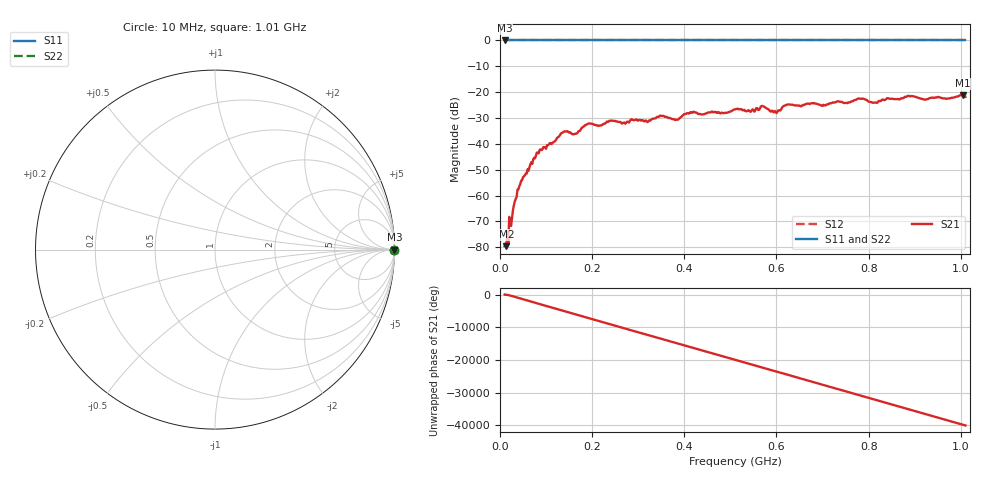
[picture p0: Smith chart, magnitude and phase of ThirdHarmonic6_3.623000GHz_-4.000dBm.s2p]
! 8/17/2025 12:07:51 PM
! C:\ANRITSUVNA\TEMP\TEMP.S2P
! CHANNEL.1
! TR.MEASUREMENT
! RAW.DATA
! RF.CORRECTION.OFF
! AVERAGING.OFF
! IF.BANDWIDTH: 5KHZ
! SWEEPTYPE:  FREQ.SWEEP(Linear)
! Reference Plane Port Info
! PORT:  PORT1  PORT2
! DISTANCE:  0  m  0  m
! TIME:  0  s  0  s
! PHASE.OFFSET:  0  deg.  0  deg.
! LOSS:  0  dB  0  dB
! REF.LOSS:  0  dB  0  dB
! REF.FREQ:  0  Hz  0  Hz
! Power Info
! POWER:  -20  dBm  -20  dBm
! EFF.POWER:  -20  dBm  -20  dBm
! SOURCE.ATTEN:  0  dB  0  dB
! TEST.ATTEN:  0  dB  0  dB
# GHZ S RI R 50.0
! FREQ.GHZ  S11RE  S11IM  S21RE  S21IM  S12RE  S12IM  S22RE  S22IM
!; PortSelection: Port_12
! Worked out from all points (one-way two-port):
!   501 points, 10 MHz to 1.01 GHz, reference 50 ohm
!   highest |S21| = -21.18 dB at 1.004 GHz (marker M1); lowest = -79.6 dB at 14 MHz (marker M2)
!   lowest |S11| = 0.0 dB at 10 MHz (marker M3)
!   |S11| at or under -10 dB: nowhere
!   |S22| runs from 0.0 to 0.0 dB; largest |S21 - S12| = 1.1
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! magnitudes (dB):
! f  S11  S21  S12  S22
! 10 MHz  0.0  -79.5  0.0  0.0
! 14 MHz  0.0  -79.6  0.0  0.0
! 24 MHz  0.0  -71.8  0.0  0.0
! 42 MHz  0.0  -56.3  0.0  0.0
! 76 MHz  0.0  -45.6  0.0  0.0
! 136 MHz  0.0  -35.7  0.0  0.0
! 162 MHz  0.0  -36.1  0.0  0.0
! 178 MHz  0.0  -33.8  0.0  0.0
! 194 MHz  0.0  -32.1  0.0  0.0
! 322 MHz  0.0  -31.2  0.0  0.0
! 344 MHz  0.0  -29.6  0.0  0.0
! 384 MHz  0.0  -30.6  0.0  0.0
! 416 MHz  0.0  -27.9  0.0  0.0
! 510 MHz  0.0  -26.6  0.0  0.0
! 570 MHz  0.0  -25.4  0.0  0.0
! 598 MHz  0.0  -27.5  0.0  0.0
! 624 MHz  0.0  -24.8  0.0  0.0
! 678 MHz  0.0  -24.2  0.0  0.0
! 814 MHz  0.0  -24.0  0.0  0.0
! 844 MHz  0.0  -22.5  0.0  0.0
! 1.004 GHz  0.0  -21.2  0.0  0.0
! 1.01 GHz  0.0  -21.8  0.0  0.0
